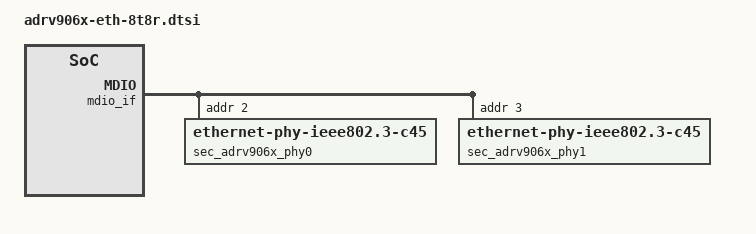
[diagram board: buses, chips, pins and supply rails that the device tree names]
// SPDX-License-Identifier: GPL-2.0
/*
 * Copyright (c) 2024, Analog Devices Incorporated, All Rights Reserved
 */

#include "adrv906x_def.h"

/ {
	adrv906x_net1: adrv906x_net@SEC_EMAC_CMN_BASE_UADDR {
		compatible = "adi,adrv906x-net";
		reg = <SEC_EMAC_CMN_BASE 0x3004>;
		#address-cells = <1>;
		#size-cells = <1>;
		pinctrl-names = "default";
		pinctrl-0 = <&pinctrl_secondary_eth_recov_clk>;

		ethernet-ports {
			#address-cells = <1>;
			#size-cells = <1>;
			port@0 {
				id = <0>;
				reg = <SEC_EMAC_MAC_0_BASE 0x14>, <SEC_EMAC_MAC_0_TX 0x70>,
					  <SEC_EMAC_MAC_0_RX 0x9c>, <SEC_EMAC_PCS_0_TSU 0x44>;
				phy-handle = <&sec_adrv906x_phy0>;
				ndma-handle = <&sec_ndma0>;
				clocks = <&hsdigclk>;
				clock-names = "hsdig_clk";
				adi,pcb-delay-tx-ns = <0>;
				adi,pcb-delay-tx-frac-ns = <0>;
				adi,pcb-delay-rx-ns = <0>;
				adi,pcb-delay-rx-frac-ns = <0>;
			};
			port@1 {
				id = <1>;
				reg = <SEC_EMAC_MAC_1_BASE 0x14>, <SEC_EMAC_MAC_1_TX 0x70>,
					  <SEC_EMAC_MAC_1_RX 0x9c>, <SEC_EMAC_PCS_1_TSU 0x44>;
				phy-handle = <&sec_adrv906x_phy1>;
				ndma-handle = <&sec_ndma1>;
				clocks = <&hsdigclk>;
				clock-names = "hsdig_clk";
				adi,pcb-delay-tx-ns = <0>;
				adi,pcb-delay-tx-frac-ns = <0>;
				adi,pcb-delay-rx-ns = <0>;
				adi,pcb-delay-rx-frac-ns = <0>;
			};
		};

		oran_if {
			reg = <SEC_OIF_0_RX_CTRL 0x4>, <SEC_OIF_0_TX_CTRL 0x4>,
				  <SEC_OIF_1_RX_CTRL 0x4>, <SEC_OIF_1_TX_CTRL 0x4>;
		};

		mdio_if {
			reg = <SEC_EMAC_PCS_0_BASE 0x350>, <SEC_EMAC_PCS_1_BASE 0x350>;
			#address-cells = <1>;
			#size-cells = <0>;
			sec_adrv906x_phy0: ethernet-phy@0 {
				compatible = "ethernet-phy-ieee802.3-c45";
				reg = <2>;
				speed = <25000>;
			};
			sec_adrv906x_phy1: ethernet-phy@1 {
				compatible = "ethernet-phy-ieee802.3-c45";
				reg = <3>;
				speed = <25000>;
			};
		};

		eth_recov_clk {
			reg = <SEC_EMAC_RECOVERED_CLK_CTRL 0x4>;
		};
	};
};
